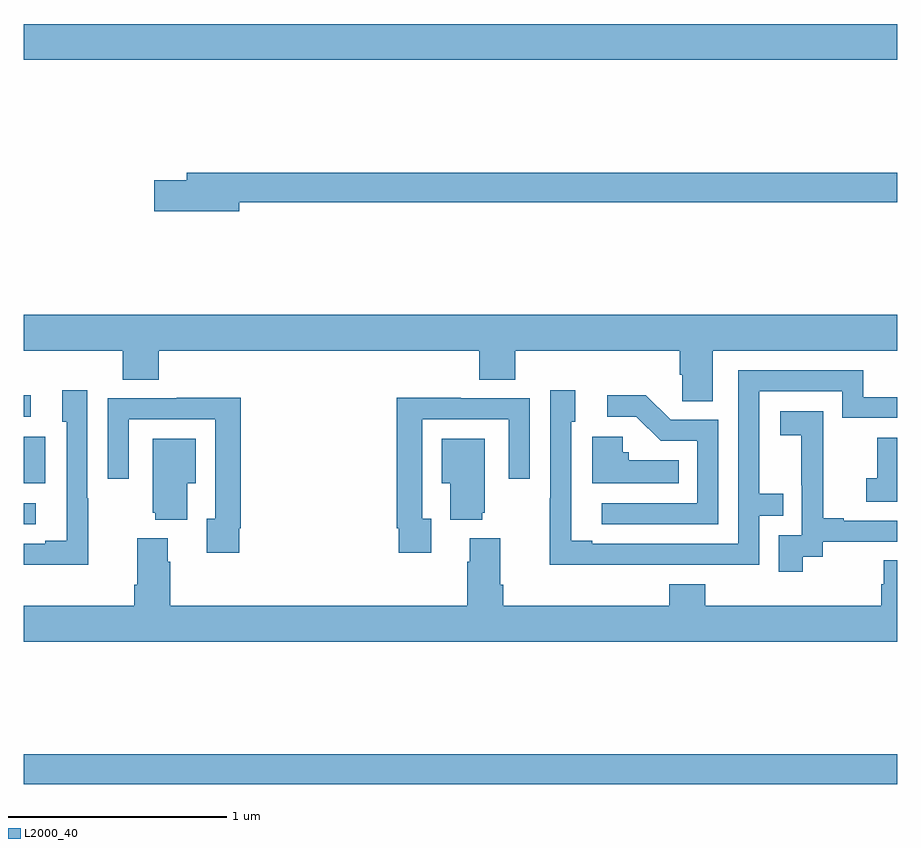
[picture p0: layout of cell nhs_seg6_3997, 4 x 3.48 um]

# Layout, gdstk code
import gdstk
lib = gdstk.Library(unit=1e-6, precision=1e-09)
def R(c, l, rs):  # rectangles x0, y0, x1, y1
    for r in rs: c.add(gdstk.rectangle(r[:2], r[2:], *l))
def P(c, l, *ps):  # polygons
    for p in ps: c.add(gdstk.Polygon(p, *l))
L2000_40 = (2000, 40)

nhs_seg6_3997 = lib.new_cell('nhs_seg6_3997')
R(nhs_seg6_3997, L2000_40, [(347,948.016,351,948.152), (347,949.206,347.056,949.302), (347,949.394,347.098,949.606), (347,949.698,347.032,949.796), (347,951.332,351,951.496)])
P(nhs_seg6_3997, L2000_40, [(347.986,950.68),(351,950.68),(351,950.816),(347.747,950.816),(347.747,950.78),(347.598,950.78),(347.598,950.638),(347.986,950.638)],
  [(347,950),(347.453,950),(347.453,949.867),(347.618,949.867),(347.618,950),(349.085,950),(349.085,949.867),(349.25,949.867),(349.25,950),(350.003,950),(350.003,949.891),(350.016,949.891),(350.016,949.768),(350.155,949.768),(350.155,950),(351,950),(351,950.164),(347,950.164)],
  [(349.871,949.02),(350.367,949.02),(350.367,949.245),(350.477,949.245),(350.477,949.346),(350.367,949.346),(350.367,949.815),(350.748,949.815),(350.748,949.692),(351,949.692),(351,949.788),(350.845,949.788),(350.845,949.911),(350.271,949.911),(350.271,949.116),(349.603,949.116),(349.603,949.129),(349.507,949.129),(349.507,949.322),(349.506,949.322),(349.506,949.674),(349.525,949.674),(349.525,949.819),(349.41,949.819),(349.41,949.325),(349.408,949.325),(349.408,949.019),(349.871,949.019)],
  [(347.295,949.325),(347.292,949.325),(347.292,949.819),(347.177,949.819),(347.177,949.674),(347.196,949.674),(347.196,949.129),(347.099,949.129),(347.099,949.116),(347,949.116),(347,949.019),(347.295,949.019)],
  [(350.181,949.683),(349.962,949.683),(349.849,949.796),(349.671,949.796),(349.671,949.698),(349.805,949.698),(349.916,949.587),(350.085,949.587),(350.085,949.302),(349.647,949.302),(349.647,949.206),(350.181,949.206)],
  [(348.865,949.23),(348.825,949.23),(348.825,949.686),(349.221,949.686),(349.221,949.413),(349.317,949.413),(349.317,949.782),(349.001,949.782),(349.001,949.784),(348.709,949.784),(348.709,949.186),(348.717,949.186),(348.717,949.074),(348.865,949.074)],
  [(347.986,949.186),(347.993,949.186),(347.993,949.784),(347.701,949.784),(347.701,949.782),(347.385,949.782),(347.385,949.413),(347.481,949.413),(347.481,949.686),(347.877,949.686),(347.877,949.23),(347.837,949.23),(347.837,949.074),(347.986,949.074)],
  [(350.566,949.057),(350.658,949.057),(350.658,949.125),(351,949.125),(351,949.221),(350.755,949.221),(350.755,949.234),(350.66,949.234),(350.66,949.517),(350.661,949.517),(350.661,949.723),(350.463,949.723),(350.463,949.613),(350.561,949.613),(350.561,949.385),(350.562,949.385),(350.562,949.155),(350.457,949.155),(350.457,948.987),(350.566,948.987)],
  [(350,949.498),(349.77,949.498),(349.77,949.536),(349.743,949.536),(349.743,949.606),(349.604,949.606),(349.604,949.394),(350,949.394)],
  [(351,949.602),(350.908,949.602),(350.908,949.417),(350.859,949.417),(350.859,949.308),(351,949.308)],
  [(347.749,949.394),(347.788,949.394),(347.788,949.597),(347.591,949.597),(347.591,949.257),(347.603,949.257),(347.603,949.226),(347.749,949.226)],
  [(349.1,949.257),(349.111,949.257),(349.111,949.597),(348.914,949.597),(348.914,949.394),(348.953,949.394),(348.953,949.226),(349.1,949.226)],
  [(351,949.04),(350.939,949.04),(350.939,948.93),(350.927,948.93),(350.927,948.832),(350.12,948.832),(350.12,948.931),(349.955,948.931),(349.955,948.832),(349.196,948.832),(349.196,948.928),(349.183,948.928),(349.183,949.141),(349.043,949.141),(349.043,949.034),(349.031,949.034),(349.031,948.832),(347.672,948.832),(347.672,949.034),(347.659,949.034),(347.659,949.141),(347.519,949.141),(347.519,948.928),(347.507,948.928),(347.507,948.832),(347,948.832),(347,948.668),(351,948.668)])

lib.write_gds('nhs_seg6_3997.gds')
